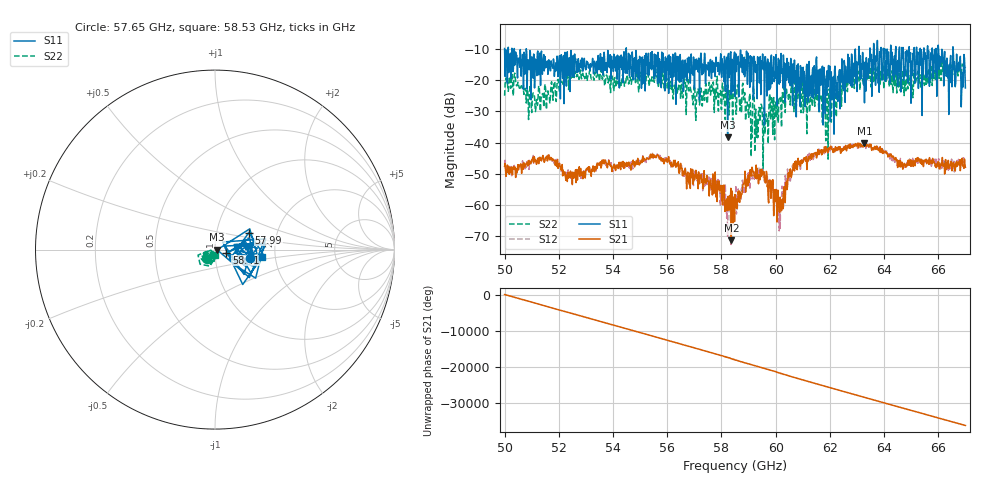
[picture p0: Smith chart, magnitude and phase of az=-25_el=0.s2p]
!Created with skrf (http://scikit-rf.org).
# GHz S RI R 50.0
!freq ReS11 ImS11 ReS21 ImS21 ReS12 ImS12 ReS22 ImS22
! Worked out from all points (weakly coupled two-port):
!   1001 points, 50 GHz to 67 GHz, reference 50 ohm
!   highest |S21| = -40.09 dB at 63.28 GHz (marker M1); lowest = -71.3 dB at 58.36 GHz (marker M2)
!   lowest |S11| = -38.3 dB at 58.23 GHz (marker M3), VSWR 1.02, Z = 51.2 - j0.114 ohm
!   |S11| at or under -10 dB: 50.8 GHz to 54.49 GHz (3.685 GHz wide, 7 % of centre); 54.49 GHz to 62.94 GHz (8.447 GHz wide, 14.4 % of centre); 66.01 GHz to 66.54 GHz (527.7 MHz wide, 0.796 % of centre) (the widest 3 of 30)
!   |S22| runs from -49.6 to -14.0 dB; largest |S21 - S12| = 0.0021
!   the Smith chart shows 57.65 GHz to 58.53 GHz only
!   S11 on the Smith chart (normalised r, x): 57.65 GHz: 1.48, -0.14; 57.99 GHz: 1.43, +0.29; 58.41 GHz: 1.13, -0.04; 58.53 GHz: 1.71, -0.15
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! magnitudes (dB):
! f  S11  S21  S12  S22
! 50 GHz  -9.8  -47.6  -47.0  -24.9
! 50.42 GHz  -13.1  -48.5  -49.7  -21.3
! 51.07 GHz  -11.6  -46.3  -46.6  -24.2
! 52.84 GHz  -13.5  -49.7  -51.3  -19.5
! 55.68 GHz  -13.6  -44.1  -45.0  -22.3
! 57.65 GHz  -13.9  -53.9  -52.0  -23.4
! 57.99 GHz  -13.5  -54.3  -54.8  -29.2
! 58.23 GHz  -38.3  -61.7  -70.4  -22.6
! 58.36 GHz  -24.5  -71.3  -60.0  -23.6
! 58.41 GHz  -23.6  -60.4  -62.4  -35.5
! 58.5 GHz  -25.1  -56.7  -61.6  -24.3
! 58.53 GHz  -11.5  -58.2  -53.7  -30.8
! 59.11 GHz  -12.3  -50.7  -50.2  -34.2
! 59.45 GHz  -24.6  -50.0  -48.5  -27.8
! 60.13 GHz  -21.2  -62.0  -68.4  -25.4
! 60.69 GHz  -13.5  -49.1  -46.9  -24.0
! 61.34 GHz  -25.3  -43.7  -44.1  -25.9
! 61.92 GHz  -19.7  -43.3  -42.0  -26.7
! 63.28 GHz  -27.2  -40.1  -40.9  -16.9
! 64.18 GHz  -17.7  -44.3  -44.0  -18.6
! 66.06 GHz  -15.5  -48.0  -48.4  -14.8
! 67 GHz  -22.5  -47.9  -48.2  -15.6
